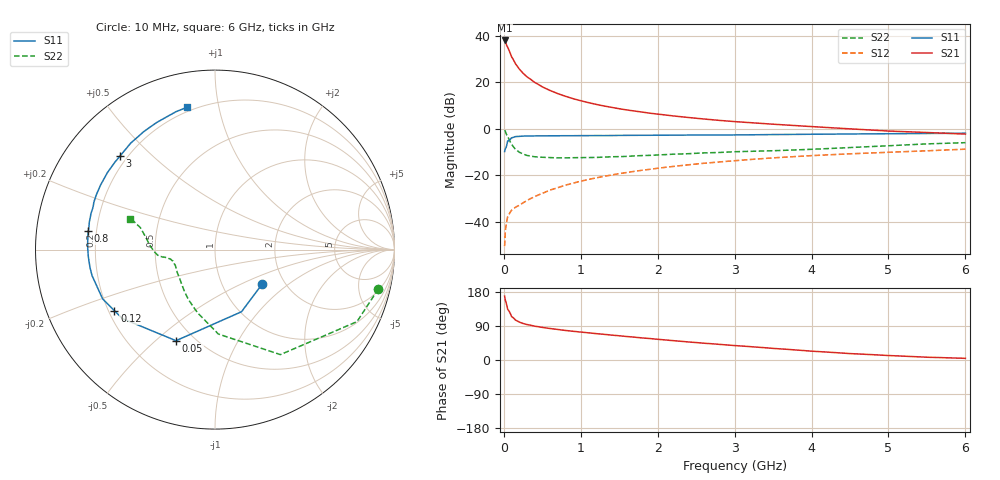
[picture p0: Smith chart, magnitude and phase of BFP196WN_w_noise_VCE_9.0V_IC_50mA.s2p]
! (c) 2017  Infineon Technologies AG, Munich
! Infineon Technologies  Discrete & RF Semiconductors
! BFP196WN
! VCE =  9.0 V,  IC =  50 mA
! Common Emitter S-Parameters:  Jan 2017
# GHz  S  MA  R  50
!  f  S11  S21  S12  S22
! GHz  MAG  ANG  MAG  ANG  MAG  ANG  MAG  ANG
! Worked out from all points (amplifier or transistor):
!   77 points, 10 MHz to 6 GHz, reference 50 ohm
!   highest |S21| = 38.1 dB at 10 MHz (marker M1)
!   |S21| within 3 dB of that: start of sweep to 50.94 MHz
!   unconditionally stable (mu >= 1): 669.7 MHz to 2.706 GHz
!   at 130 MHz: K = 0.51, MSG = 31.8 dB, |S12| = -34.2 dB
!   at 2.2 GHz: K = 1.02, MAG = 10.0 dB, |S12| = -16.2 dB
!   at 6 GHz: K = 0.90, MSG = 3.2 dB, |S12| = -8.7 dB
!   lowest NFmin = 1.27 dB at 450 MHz
!   S11 on the Smith chart (normalised r, x): 10 MHz: 1.54, -0.66; 50 MHz: 0.40, -0.58; 120 MHz: 0.22, -0.27; 800 MHz: 0.17, +0.07; 3 GHz: 0.17, +0.40; 6 GHz: 0.18, +0.81
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0.01  0.3256 -36.0  80.01 168.8  0.003 80.5  0.9364 -13.5
0.02  0.3764 -66.9  74.11 157.4  0.0065 72.4  0.887 -26.9
0.05  0.5522 -113.2  57.09 133.8  0.0129 54.7  0.6892 -58.1
0.1  0.6437 -143.4  35.83 114.7  0.0178 49.1  0.4703 -87.8
0.12  0.6556 -148.7  31.6 111.8  0.0189 48.7  0.4236 -93.8
0.15  0.6837 -156.3  25.47 105.6  0.0206 48.2  0.3649 -105.5
0.2  0.69 -163.4  19.5 100.2  0.0227 51.6  0.3161 -117.8
0.25  0.7003 -168.1  15.78 96.4  0.0257 54.1  0.2885 -126.2
0.3  0.7036 -171.8  13.24 93.6  0.0287 55.7  0.2689 -133.3
0.4  0.7068 -176.7  10.03 89.2  0.035 61.1  0.2519 -142.4
0.5  0.7091 179.7  8.04 86.0  0.041 63.5  0.2457 -149.0
0.6  0.7106 176.8  6.722 83.1  0.0482 64.8  0.2416 -153.6
0.7  0.7118 174.2  5.755 80.6  0.0544 66.8  0.2382 -156.8
0.8  0.7142 171.7  5.042 78.0  0.0615 67.7  0.2383 -159.0
1.1  0.7174 165.6  3.675 71.7  0.0818 67.7  0.2422 -164.3
1.5  0.7243 158.8  2.717 63.9  0.109 66.9  0.2532 -168.2
2.1  0.7325 149.1  1.993 52.9  0.1491 63.4  0.2802 -171.1
3  0.7426 135.6  1.437 38.1  0.2071 56.9  0.3227 -174.8
3.1  0.7444 134.1  1.4 36.8  0.2132 56.0  0.3259 -175.5
4.1  0.7693 119.8  1.098 22.1  0.271 47.9  0.3703 174.6
5.1  0.7893 109.0  0.887 11.0  0.3187 40.4  0.4421 163.0
6  0.8079 101.0  0.774 4.4  0.3664 34.5  0.5059 160.0
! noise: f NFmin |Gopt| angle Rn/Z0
0.45  1.27  0.53  -177  0.05
0.9  1.39  0.56  -171  0.05
1.9  2.33  0.69  -148  0.16
2.4  3.05  0.7  -140  0.28
